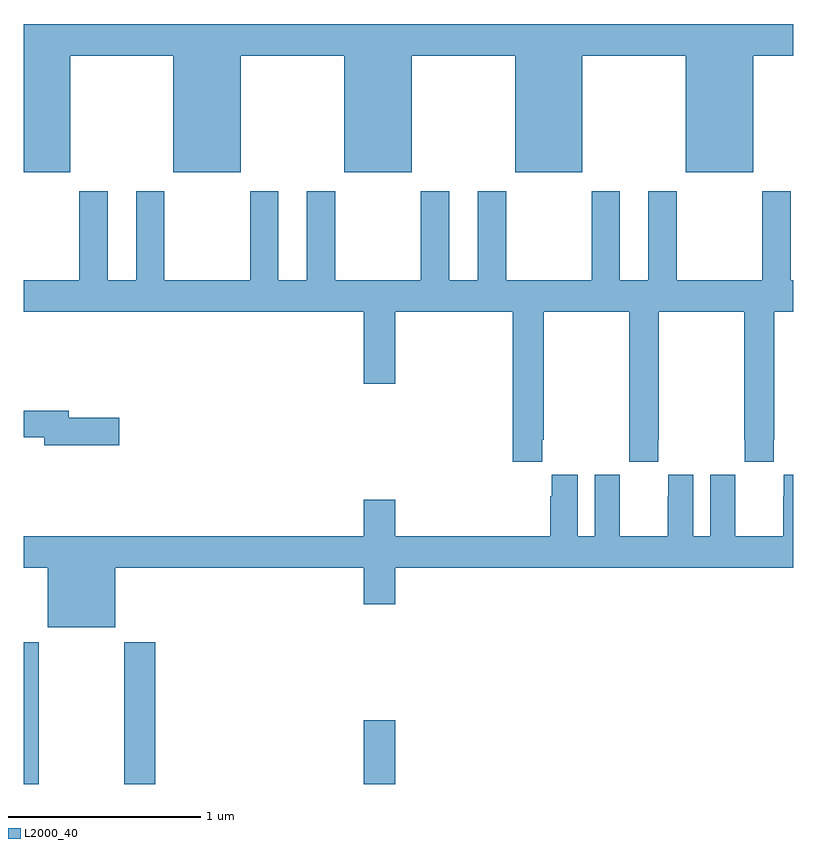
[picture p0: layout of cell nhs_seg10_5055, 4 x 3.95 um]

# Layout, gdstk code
import gdstk
lib = gdstk.Library(unit=1e-6, precision=1e-09)
def R(c, l, rs):  # rectangles x0, y0, x1, y1
    for r in rs: c.add(gdstk.rectangle(r[:2], r[2:], *l))
def P(c, l, *ps):  # polygons
    for p in ps: c.add(gdstk.Polygon(p, *l))
L2000_40 = (2000, 40)

nhs_seg10_5055 = lib.new_cell('nhs_seg10_5055')
R(nhs_seg10_5055, L2000_40, [(403,1324.5,403.077,1325.236), (403.522,1324.5,403.682,1325.236), (404.768,1324.5,404.932,1324.831)])
P(nhs_seg10_5055, L2000_40, [(403.24,1328.288),(403.778,1328.288),(403.778,1327.682),(404.128,1327.682),(404.128,1328.288),(404.666,1328.288),(404.666,1327.682),(405.016,1327.682),(405.016,1328.288),(405.554,1328.288),(405.554,1327.682),(405.904,1327.682),(405.904,1328.288),(406.442,1328.288),(406.442,1327.682),(406.792,1327.682),(406.792,1328.288),(407,1328.288),(407,1328.452),(403,1328.452),(403,1327.682),(403.24,1327.682)],
  [(404.619,1327.582),(404.471,1327.582),(404.471,1327.12),(404.323,1327.12),(404.323,1327.582),(404.176,1327.582),(404.176,1327.12),(403.731,1327.12),(403.731,1327.582),(403.583,1327.582),(403.583,1327.12),(403.435,1327.12),(403.435,1327.582),(403.288,1327.582),(403.288,1327.12),(403,1327.12),(403,1326.956),(404.768,1326.956),(404.768,1326.582),(404.932,1326.582),(404.932,1326.956),(405.542,1326.956),(405.542,1326.177),(405.695,1326.177),(405.695,1326.289),(405.702,1326.289),(405.702,1326.956),(406.147,1326.956),(406.147,1326.289),(406.149,1326.289),(406.149,1326.177),(406.299,1326.177),(406.299,1326.289),(406.302,1326.289),(406.302,1326.956),(406.747,1326.956),(406.747,1326.289),(406.749,1326.289),(406.749,1326.177),(406.899,1326.177),(406.899,1326.289),(406.902,1326.289),(406.902,1326.956),(407,1326.956),(407,1327.12),(406.987,1327.12),(406.987,1327.582),(406.84,1327.582),(406.84,1327.12),(406.395,1327.12),(406.395,1327.582),(406.247,1327.582),(406.247,1327.12),(406.099,1327.12),(406.099,1327.582),(405.952,1327.582),(405.952,1327.12),(405.507,1327.12),(405.507,1327.582),(405.359,1327.582),(405.359,1327.12),(405.211,1327.12),(405.211,1327.582),(405.064,1327.582),(405.064,1327.12),(404.619,1327.12)],
  [(403.495,1326.404),(403.234,1326.404),(403.234,1326.44),(403,1326.44),(403,1326.304),(403.106,1326.304),(403.106,1326.262),(403.495,1326.262)],
  [(403.474,1325.624),(404.768,1325.624),(404.768,1325.436),(404.932,1325.436),(404.932,1325.624),(407,1325.624),(407,1326.109),(406.95,1326.109),(406.95,1325.996),(406.949,1325.996),(406.949,1325.788),(406.699,1325.788),(406.699,1325.996),(406.698,1325.996),(406.698,1326.109),(406.568,1326.109),(406.568,1325.788),(406.48,1325.788),(406.48,1326.109),(406.35,1326.109),(406.35,1325.996),(406.349,1325.996),(406.349,1325.788),(406.099,1325.788),(406.099,1325.996),(406.098,1325.996),(406.098,1326.109),(405.968,1326.109),(405.968,1325.788),(405.88,1325.788),(405.88,1326.109),(405.746,1326.109),(405.746,1325.996),(405.737,1325.996),(405.737,1325.788),(404.932,1325.788),(404.932,1325.977),(404.768,1325.977),(404.768,1325.788),(403,1325.788),(403,1325.624),(403.124,1325.624),(403.124,1325.315),(403.474,1325.315)])

lib.write_gds('nhs_seg10_5055.gds')
